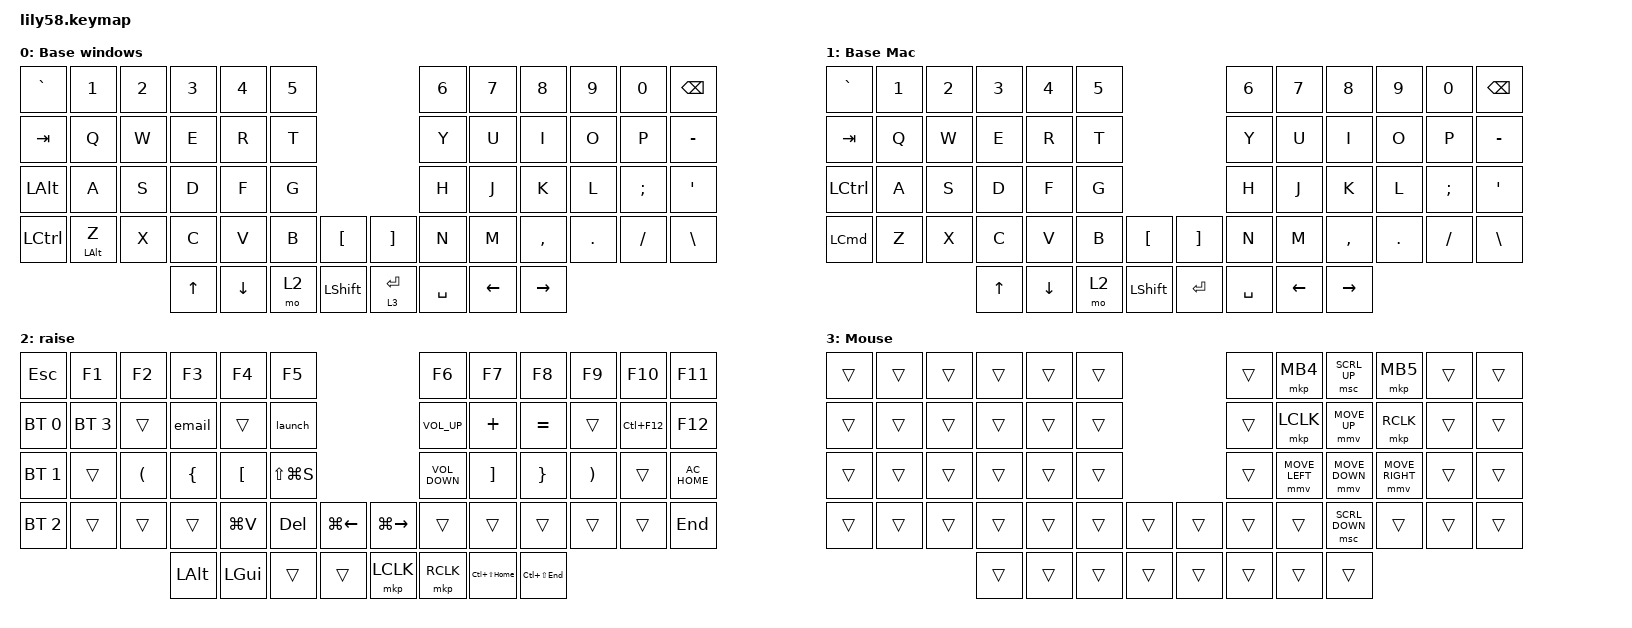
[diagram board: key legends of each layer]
/*
 * Copyright (c) 2020 The ZMK Contributors
 *
 * SPDX-License-Identifier: MIT
 */

#include <behaviors.dtsi>
#include <dt-bindings/zmk/bt.h>
#include <dt-bindings/zmk/keys.h>
#include <dt-bindings/zmk/pointing.h>

#define ZMK_POINTING_DEFAULT_MOVE_VAL 1500  // default: 600
#define ZMK_POINTING_DEFAULT_SCRL_VAL 20    // default: 10

/ {
    combos {
        compatible = "zmk,combos";

        Macswitch {
            timeout-ms = <120>;
            bindings = <&to 1>;
            key-positions = <11 23>;
        };

        windows {
            timeout-ms = <120>;
            bindings = <&to 0>;
            key-positions = <49 35>;
        };

        Equals {
            bindings = <&kp EQUAL>;
            key-positions = <>;
            layers = <0 1>;
        };

        LeftBracket {
            bindings = <&kp RIGHT_PARENTHESIS>;
            key-positions = <>;
            layers = <0 1>;
        };

        LP {
            bindings = <&kp LEFT_PARENTHESIS>;
            key-positions = <>;
            layers = <0 1>;
        };

        RB {
            bindings = <&kp RIGHT_BRACE>;
            key-positions = <>;
            layers = <0 1>;
        };

        LB {
            bindings = <&kp LEFT_BRACE>;
            key-positions = <>;
            layers = <0 1>;
        };

        plus {
            bindings = <&kp KP_PLUS>;
            key-positions = <>;
            layers = <0 1>;
        };
    };

    macros {
        email: email {
            compatible = "zmk,behavior-macro";
            #binding-cells = <0>;
            bindings = <&kp C &kp A &kp M &kp E &kp R &kp O &kp N &kp DOT &kp P &kp L &kp I &kp M &kp S &kp O &kp L &kp L &kp AT &kp R &kp A &kp P &kp I &kp D &kp D &kp E &kp P &kp L &kp O &kp Y &kp DOT &kp C &kp O &kp M>;
            label = "EMAIL";
        };

        launch: launch {
            compatible = "zmk,behavior-macro";
            #binding-cells = <0>;
            bindings = <&kp LA(SPACE)>;
            label = "LAUNCH";
        };

        mac_launch: mac_launch {
            compatible = "zmk,behavior-macro";
            #binding-cells = <0>;
            bindings = <&kp LEFT_COMMAND &kp SPACE>;
            label = "MAC_LAUNCH";
        };
    };

    keymap {
        compatible = "zmk,keymap";

        BaseWindows {
            // ------------------------------------------------------------------------------------------------------------
            // |  ESC  |  1  |  2  |  3   |  4   |  5   |                   |  6   |  7    |  8    |  9   |   0   |   `   |
            // |  TAB  |  Q  |  W  |  E   |  R   |  T   |                   |  Y   |  U    |  I    |  O   |   P   |   -   |
            // |  CTRL |  A  |  S  |  D   |  F   |  G   |                   |  H   |  J    |  K    |  L   |   ;   |   '   |
            // | SHIFT |  Z  |  X  |  C   |  V   |  B   |   "["  |  |  "]"  |  N   |  M    |  ,    |  .   |   /   | SHIFT |
            //                     | ALT  | GUI  | LOWER|  SPACE |  | ENTER | RAISE| BSPC  | GUI   |

            display-name = "Base windows";
            bindings = <
&kp GRAVE         &kp N1          &kp N2  &kp N3        &kp N4    &kp N5                                 &kp N6     &kp N7    &kp N8     &kp N9   &kp N0    &kp BACKSPACE
&kp TAB           &kp Q           &kp W   &kp E         &kp R     &kp T                                  &kp Y      &kp U     &kp I      &kp O    &kp P     &kp MINUS
&kp LEFT_ALT      &kp A           &kp S   &kp D         &kp F     &kp G                                  &kp H      &kp J     &kp K      &kp L    &kp SEMI  &kp SQT
&kp LEFT_CONTROL  &mt LEFT_ALT Z  &kp X   &kp C         &kp V     &kp B   &kp LBKT          &kp RBKT     &kp N      &kp M     &kp COMMA  &kp DOT  &kp FSLH  &kp BACKSLASH
                                          &kp UP_ARROW  &kp DOWN  &mo 2   &kp LEFT_SHIFT    &lt 3 ENTER  &kp SPACE  &kp LEFT  &kp RIGHT
            >;
        };

        BaseMac {
            display-name = "Base Mac";
            bindings = <
&kp GRAVE         &kp N1  &kp N2  &kp N3        &kp N4    &kp N5                               &kp N6     &kp N7    &kp N8     &kp N9   &kp N0    &kp BACKSPACE
&kp TAB           &kp Q   &kp W   &kp E         &kp R     &kp T                                &kp Y      &kp U     &kp I      &kp O    &kp P     &kp MINUS
&kp LEFT_CONTROL  &kp A   &kp S   &kp D         &kp F     &kp G                                &kp H      &kp J     &kp K      &kp L    &kp SEMI  &kp SQT
&kp LEFT_COMMAND  &kp Z   &kp X   &kp C         &kp V     &kp B   &kp LBKT          &kp RBKT   &kp N      &kp M     &kp COMMA  &kp DOT  &kp FSLH  &kp BACKSLASH
                                  &kp UP_ARROW  &kp DOWN  &mo 2   &kp LEFT_SHIFT    &kp ENTER  &kp SPACE  &kp LEFT  &kp RIGHT
            >;
        };

        raise {
            bindings = <
&kp ESCAPE    &kp F1        &kp F2                &kp F3          &kp F4            &kp F5                                        &kp F6             &kp F7             &kp F8           &kp F9                 &kp F10      &kp F11
&bt BT_SEL 0  &bt BT_SEL 3  &trans                &email          &trans            &launch                                       &kp C_VOLUME_UP    &kp PLUS           &kp EQUAL        &trans                 &kp LC(F12)  &kp F12
&bt BT_SEL 1  &trans        &kp LEFT_PARENTHESIS  &kp LEFT_BRACE  &kp LEFT_BRACKET  &kp LS(LG(S))                                 &kp C_VOLUME_DOWN  &kp RIGHT_BRACKET  &kp RIGHT_BRACE  &kp RIGHT_PARENTHESIS  &trans       &kp C_AC_HOME
&bt BT_SEL 2  &trans        &trans                &trans          &kp LG(V)         &kp DEL        &kp LG(LEFT)    &kp LG(RIGHT)  &trans             &trans             &trans           &trans                 &trans       &kp END
                                                  &kp LEFT_ALT    &kp LEFT_GUI      &trans         &trans          &mkp LCLK      &mkp RCLK          &kp LC(LS(HOME))   &kp LC(LS(END))
            >;
        };

        Mouse {
            bindings = <
&trans  &trans  &trans  &trans  &trans  &trans                    &trans  &mkp MB4        &msc SCRL_UP    &mkp MB5         &trans  &trans
&trans  &trans  &trans  &trans  &trans  &trans                    &trans  &mkp LCLK       &mmv MOVE_UP    &mkp RCLK        &trans  &trans
&trans  &trans  &trans  &trans  &trans  &trans                    &trans  &mmv MOVE_LEFT  &mmv MOVE_DOWN  &mmv MOVE_RIGHT  &trans  &trans
&trans  &trans  &trans  &trans  &trans  &trans  &trans    &trans  &trans  &trans          &msc SCRL_DOWN  &trans           &trans  &trans
                        &trans  &trans  &trans  &trans    &trans  &trans  &trans          &trans
            >;
        };
    };
};
